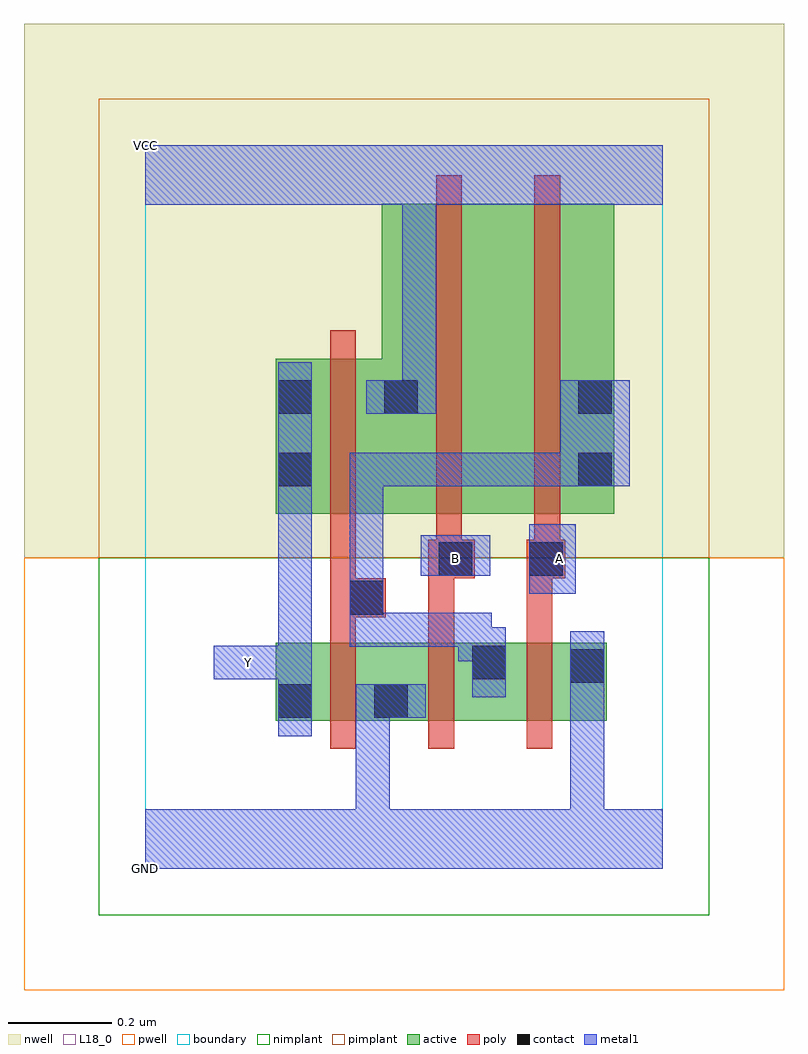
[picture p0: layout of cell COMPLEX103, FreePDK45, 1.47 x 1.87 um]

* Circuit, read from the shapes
.subckt COMPLEX103 A B GND VCC Y
M1 GND n1 Y VSUBS nfet w=0.15u l=0.05u
M2 n1 B GND VSUBS nfet w=0.15u l=0.05u
M3 GND A n1 VSUBS nfet w=0.15u l=0.05u
M4 VCC n1 Y n2 pfet w=0.3u l=0.05u
M5 n3 B VCC n2 pfet w=0.6u l=0.05u
M6 n1 A n3 n2 pfet w=0.6u l=0.05u
.ends

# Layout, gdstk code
import gdstk
lib = gdstk.Library(unit=1e-6, precision=1e-09)
def R(c, l, rs):  # rectangles x0, y0, x1, y1
    for r in rs: c.add(gdstk.rectangle(r[:2], r[2:], *l))
active = (1, 0)
pwell = (2, 0)
nwell = (3, 0)
nimplant = (4, 0)
pimplant = (5, 0)
poly = (9, 0)
contact = (10, 0)
metal1 = (11, 0)
L18_0 = (18, 0)
boundary = (235, 0)

complex103 = lib.new_cell('COMPLEX103')
R(complex103, active, [(0.252,0.287,0.327,0.437), (0.252,0.287,0.512,0.437), (0.437,0.287,0.702,0.437), (0.437,0.287,0.512,0.397), (0.627,0.287,0.702,0.437), (0.627,0.287,0.892,0.437), (0.817,0.287,0.892,0.437), (0.252,0.687,0.327,0.957), (0.252,0.687,0.532,0.987), (0.457,0.687,0.682,1.287), (0.457,0.687,0.532,0.957), (0.682,0.687,0.907,1.287), (0.832,0.687,0.907,1.2)])
R(complex103, pwell, [(-0.235,-0.235,1.235,0.602)])
R(complex103, nwell, [(-0.235,0.602,1.235,1.635)])
R(complex103, nimplant, [(-0.09,-0.09,1.09,0.602)])
R(complex103, pimplant, [(-0.09,0.602,1.09,1.49)])
R(complex103, poly, [(0.357,0.232,0.407,0.492), (0.547,0.232,0.597,0.492), (0.737,0.232,0.787,0.612), (0.357,0.442,0.407,0.537), (0.547,0.442,0.597,0.612), (0.357,0.487,0.465,0.562), (0.357,0.512,0.407,0.682), (0.547,0.562,0.637,0.637), (0.737,0.562,0.787,0.612), (0.737,0.562,0.812,0.637), (0.562,0.587,0.612,0.682), (0.752,0.587,0.802,0.682), (0.357,0.632,0.407,1.042), (0.562,0.632,0.612,1.342), (0.752,0.632,0.802,1.342)])
R(complex103, contact, [(0.257,0.292,0.322,0.357), (0.442,0.292,0.507,0.357), (0.822,0.36,0.887,0.425), (0.632,0.367,0.697,0.432), (0.395,0.492,0.46,0.557), (0.567,0.567,0.632,0.632), (0.742,0.567,0.807,0.632), (0.257,0.74,0.322,0.805), (0.837,0.74,0.902,0.805), (0.257,0.88,0.322,0.945), (0.462,0.88,0.527,0.945), (0.837,0.88,0.902,0.945)])
R(complex103, metal1, [(0,0,1,0.115), (0.407,0.05,0.472,0.115), (0.407,0.05,0.472,0.115), (0.407,0.05,0.472,0.115), (0.407,0.05,0.472,0.115), (0.407,0.05,0.472,0.357), (0.822,0.05,0.887,0.39), (0.257,0.257,0.322,0.392), (0.407,0.292,0.542,0.357), (0.822,0.325,0.887,0.39), (0.822,0.325,0.887,0.39), (0.822,0.325,0.887,0.39), (0.822,0.325,0.887,0.39), (0.822,0.325,0.887,0.46), (0.257,0.327,0.322,0.432), (0.632,0.332,0.697,0.467), (0.132,0.367,0.322,0.432), (0.257,0.367,0.322,0.77), (0.605,0.402,0.697,0.467), (0.605,0.402,0.67,0.495), (0.395,0.43,0.46,0.495), (0.395,0.43,0.67,0.495), (0.395,0.43,0.46,0.522), (0.395,0.457,0.46,0.522), (0.395,0.457,0.46,0.522), (0.395,0.457,0.46,0.592), (0.395,0.457,0.46,0.805), (0.742,0.532,0.832,0.667), (0.532,0.567,0.667,0.645), (0.257,0.705,0.322,0.98), (0.395,0.74,0.46,0.805), (0.395,0.74,0.67,0.805), (0.605,0.74,0.67,0.805), (0.605,0.74,0.67,0.805), (0.605,0.74,0.67,0.805), (0.605,0.74,0.867,0.805), (0.802,0.74,0.867,0.805), (0.802,0.74,0.867,0.805), (0.802,0.74,0.937,0.945), (0.427,0.88,0.562,0.945), (0.497,0.88,0.562,1.35), (0,1.285,1,1.4)])
R(complex103, L18_0, [(0,0,1,0.115), (0.407,0.05,0.472,0.115), (0.407,0.05,0.472,0.115), (0.407,0.05,0.472,0.115), (0.407,0.05,0.472,0.115), (0.407,0.05,0.472,0.357), (0.822,0.05,0.887,0.39), (0.257,0.257,0.322,0.392), (0.407,0.292,0.542,0.357), (0.822,0.325,0.887,0.46), (0.822,0.325,0.887,0.39), (0.822,0.325,0.887,0.39), (0.822,0.325,0.887,0.39), (0.822,0.325,0.887,0.39), (0.257,0.327,0.322,0.432), (0.132,0.367,0.322,0.432), (0.167,0.367,0.232,0.432), (0.257,0.367,0.322,0.77), (0.742,0.532,0.832,0.667), (0.532,0.567,0.667,0.645), (0.567,0.567,0.632,0.632), (0.767,0.567,0.832,0.632), (0.257,0.705,0.322,0.98), (0.427,0.88,0.562,0.945), (0.497,0.88,0.562,1.35), (0,1.285,1,1.4)])
R(complex103, boundary, [(0,0,1,1.4)])
complex103.add(gdstk.Label('A', (0.8,0.6), layer=11, texttype=0))
complex103.add(gdstk.Label('B', (0.6,0.6), layer=11, texttype=0))
complex103.add(gdstk.Label('Y', (0.2,0.4), layer=11, texttype=0))
complex103.add(gdstk.Label('VCC', (0,1.4), layer=11, texttype=0))
complex103.add(gdstk.Label('GND', (0,0), layer=11, texttype=0))

lib.write_gds('COMPLEX103.gds')
